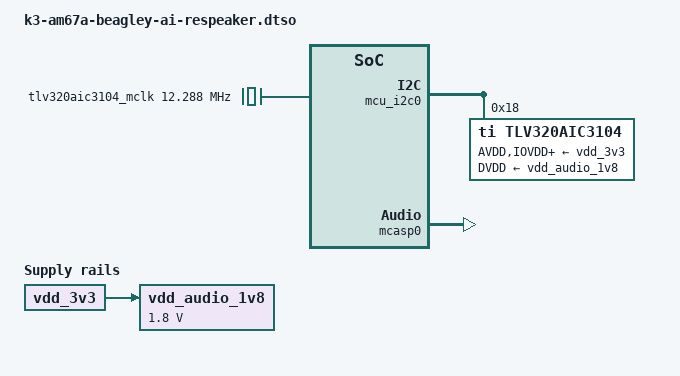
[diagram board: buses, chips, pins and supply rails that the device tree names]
// reSpeaker Audio driver for TLV320AIC3104 for BeagleY-AI 
// SPDX-License-Identifier: GPL-2.0
/* 
 * Modified by Jian De
 */

/dts-v1/;
/plugin/;

#include <dt-bindings/gpio/gpio.h>
#include "ti/k3-pinctrl.h"


/*
 * Helper to show loaded overlays under: /proc/device-tree/chosen/overlays/
 */
&{/chosen} {
	overlays {
		k3-am67a-beagley-ai-reSpeaker.kernel = __TIMESTAMP__;
	};
};

&{/} {
	tlv320aic3104_mclk: tlv320aic3104_mclk {
		#clock-cells = <0>;
		compatible = "fixed-clock";
		clock-frequency = <12288000>;
	};

	sound1 {
		compatible = "simple-audio-card";
		simple-audio-card,format = "i2s";
		simple-audio-card,name = "seeed2micvoicec";
		simple-audio-card,bitclock-master = <&dailink0_master>;
		simple-audio-card,frame-master = <&dailink0_master>;
		status = "okay";

		simple-audio-card,widgets =
			"Headphone", "Headphone Jack",
			"Line", "Line In";
		simple-audio-card,routing =
			"Headphone Jack",       "HPLOUT",
			"Headphone Jack",       "HPROUT",
			"LINE1L",               "Line In",	
			"LINE1R",               "Line In";

		dailink0_master: simple-audio-card,cpu {
			sound-dai = <&mcasp0>;
			system-clock-direction-out;
		};
		simple-audio-card,codec {
			sound-dai = <&tlv320aic3104>;
			clocks = <&tlv320aic3104_mclk>;
			clock-names = "mclk";
		};
	};
	
	vdd_audio_1v8: regulator-audio {
		compatible = "regulator-fixed";
		regulator-name = "vdd_audio_1v8";
		regulator-min-microvolt = <1800000>;
		regulator-max-microvolt = <1800000>;
		vin-supply = <&vdd_3v3>;
		regulator-always-on;
		regulator-boot-on;
	};
};

&main_pmx0 {
    // I2S running on MCASP0 (MCASP1 is HDMI audio).
	main_mcasp0_pins_default: main-mcasp0-codec-default-pins {
		pinctrl-single,pins = <
			J722S_IOPAD(0x01a4, PIN_INPUT, 0) /* BCLK on hat-12 (D25) MCASP0_ACLKX */
			J722S_IOPAD(0x01a8, PIN_INPUT, 0) /* WCLK on hat-35 (C26) MCASP0_AFSX */
			J722S_IOPAD(0x01a0, PIN_INPUT, 0) /* DIN  on hat-38 (F24) MCASP0_AXR0  (may be F23, as per beagley_ai-pinmux.dts)*/
			J722S_IOPAD(0x019c, PIN_OUTPUT, 0)/* DOUT on hat-40 (B25) MCASP0_AXR1 */
		>;
	};

};



&mcu_i2c0 {
	#address-cells = <1>;
	#size-cells = <0>;
	status = "okay";

	tlv320aic3104: tlv320aic3104@18 {
		#sound-dai-cells = <0>;
		compatible = "ti,tlv320aic3104";
		clocks = <&tlv320aic3104_mclk>;
		clock-names = "mclk";
		reg = <0x18>;                       // I2C address 0x18, matches @18 of this section.
		ai3x-micbias-vg = <2>; // set MICBIAS to 2.5v
		AVDD-supply = <&vdd_3v3>;
		IOVDD-supply = <&vdd_3v3>;
		DRVDD-supply = <&vdd_3v3>;
		DVDD-supply = <&vdd_audio_1v8>;
		status = "okay";
	};
};
 
&mcasp0 {
	status = "okay";

	#sound-dai-cells = <0>;
	pinctrl-names = "default";
	pinctrl-0 = <&main_mcasp0_pins_default>;
	auxclk-fs-ratio = <256>;
	op-mode = <0>;          /* MCASP_IIS_MODE */
	tdm-slots = <2>;

	serial-dir = <  /* 0: INACTIVE, 1: TX, 2: RX */
	       2 1 0 0
	       0 0 0 0
	       0 0 0 0
	       0 0 0 0
	>;

	tx-num-evt = <0>;
	rx-num-evt = <0>;
};




